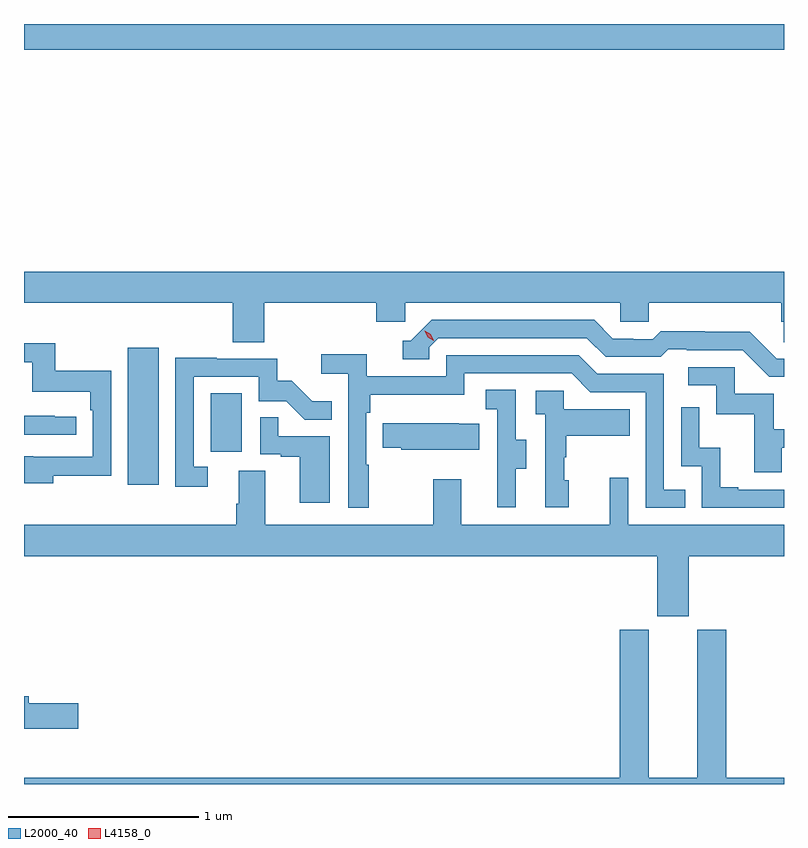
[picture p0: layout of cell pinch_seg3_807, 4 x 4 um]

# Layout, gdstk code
import gdstk
lib = gdstk.Library(unit=1e-6, precision=1e-09)
def R(c, l, rs):  # rectangles x0, y0, x1, y1
    for r in rs: c.add(gdstk.rectangle(r[:2], r[2:], *l))
def P(c, l, *ps):  # polygons
    for p in ps: c.add(gdstk.Polygon(p, *l))
L2000_40 = (2000, 40)
L4158_0 = (4158, 0)

pinch_seg3_807 = lib.new_cell('pinch_seg3_807')
R(pinch_seg3_807, L2000_40, [(880.613,726.6,880.774,727.321), (881.048,726.774,881.212,727.081), (880.066,728.888,884.066,729.024)])
P(pinch_seg3_807, L2000_40, [(881.33,727.556),(881.921,727.556),(881.921,727.458),(882.072,727.458),(882.072,727.556),(883.203,727.556),(883.203,727.458),(883.353,727.458),(883.353,727.556),(884.051,727.556),(884.051,727.458),(884.065,727.458),(884.065,727.348),(884.066,727.348),(884.066,727.72),(880.066,727.72),(880.066,727.556),(881.165,727.556),(881.165,727.348),(881.33,727.348)],
  [(884.066,727.263),(884.028,727.263),(883.886,727.405),(883.65,727.405),(883.65,727.408),(883.417,727.408),(883.375,727.365),(883.272,727.365),(883.272,727.368),(883.165,727.368),(883.066,727.467),(882.213,727.467),(882.102,727.356),(882.059,727.356),(882.059,727.26),(882.198,727.26),(882.198,727.323),(882.246,727.371),(883.029,727.371),(883.128,727.272),(883.417,727.272),(883.456,727.311),(883.555,727.311),(883.555,727.308),(883.848,727.308),(883.989,727.167),(884.066,727.167)],
  [(880.219,726.646),(880.524,726.646),(880.524,727.198),(880.231,727.198),(880.231,727.344),(880.066,727.344),(880.066,727.243),(880.11,727.243),(880.11,727.088),(880.415,727.088),(880.415,726.992),(880.428,726.992),(880.428,726.747),(880.115,726.747),(880.115,726.748),(880.066,726.748),(880.066,726.608),(880.219,726.608)],
  [(881.881,726.704),(881.868,726.704),(881.868,726.977),(881.888,726.977),(881.888,727.073),(882.384,727.073),(882.384,727.185),(882.948,727.185),(883.047,727.086),(883.338,727.086),(883.338,726.477),(883.547,726.477),(883.547,726.573),(883.434,726.573),(883.434,727.182),(883.084,727.182),(882.985,727.281),(882.288,727.281),(882.288,727.17),(881.87,727.17),(881.87,727.286),(881.631,727.286),(881.631,727.184),(881.772,727.184),(881.772,726.477),(881.881,726.477)],
  [(881.032,726.693),(880.959,726.693),(880.959,727.167),(881.301,727.167),(881.301,727.038),(881.445,727.038),(881.543,726.94),(881.687,726.94),(881.687,727.039),(881.583,727.039),(881.476,727.146),(881.4,727.146),(881.4,727.263),(881.081,727.263),(881.081,727.268),(880.863,727.268),(880.863,726.588),(881.032,726.588)],
  [(884.053,726.795),(884.066,726.795),(884.066,726.891),(884.011,726.891),(884.011,727.077),(883.806,727.077),(883.806,727.218),(883.563,727.218),(883.563,727.122),(883.71,727.122),(883.71,726.969),(883.909,726.969),(883.909,726.666),(884.053,726.666)],
  [(882.655,726.682),(882.709,726.682),(882.709,726.837),(882.654,726.837),(882.654,727.1),(882.495,727.1),(882.495,726.997),(882.558,726.997),(882.558,726.693),(882.557,726.693),(882.557,726.48),(882.655,726.48)],
  [(882.934,726.624),(882.909,726.624),(882.909,726.743),(882.919,726.743),(882.919,726.857),(883.253,726.857),(883.253,726.997),(882.906,726.997),(882.906,727.095),(882.759,727.095),(882.759,726.971),(882.81,726.971),(882.81,726.48),(882.934,726.48)],
  [(884.066,726.573),(883.825,726.573),(883.825,726.586),(883.73,726.586),(883.73,726.794),(883.62,726.794),(883.62,727.006),(883.524,727.006),(883.524,726.696),(883.632,726.696),(883.632,726.477),(884.066,726.477)],
  [(880.342,726.957),(880.229,726.957),(880.229,726.962),(880.066,726.962),(880.066,726.861),(880.342,726.861)],
  [(881.674,726.855),(881.405,726.855),(881.405,726.953),(881.31,726.953),(881.31,726.759),(881.417,726.759),(881.417,726.747),(881.516,726.747),(881.516,726.504),(881.674,726.504)],
  [(882.461,726.919),(882.353,726.919),(882.353,726.922),(881.953,726.922),(881.953,726.793),(882.051,726.793),(882.051,726.782),(882.461,726.782)],
  [(883.564,726.224),(884.066,726.224),(884.066,726.388),(883.245,726.388),(883.245,726.637),(883.148,726.637),(883.148,726.388),(882.367,726.388),(882.367,726.628),(882.22,726.628),(882.22,726.388),(881.335,726.388),(881.335,726.674),(881.195,726.674),(881.195,726.5),(881.183,726.5),(881.183,726.388),(880.066,726.388),(880.066,726.224),(883.4,726.224),(883.4,725.907),(883.564,725.907)],
  [(884.066,725.056),(883.763,725.056),(883.763,725.835),(883.61,725.835),(883.61,725.056),(883.354,725.056),(883.354,725.835),(883.202,725.835),(883.202,725.056),(880.066,725.056),(880.066,725.024),(884.066,725.024)],
  [(880.351,725.45),(880.09,725.45),(880.09,725.486),(880.066,725.486),(880.066,725.315),(880.351,725.315)])
P(pinch_seg3_807, L4158_0, [(882.222,727.357),(882.191,727.376),(882.174,727.408),(882.174,727.409),(882.175,727.409),(882.206,727.39),(882.222,727.358),(882.222,727.357)])

lib.write_gds('pinch_seg3_807.gds')
